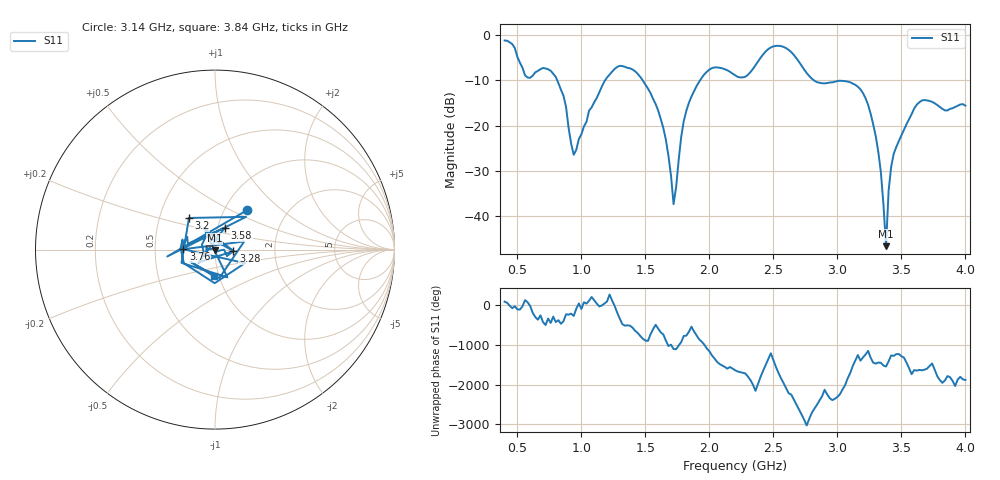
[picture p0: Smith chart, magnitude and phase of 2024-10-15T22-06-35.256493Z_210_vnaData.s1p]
! Created with skrf (http://scikit-rf.org).
# Hz S RI R 50.0
!freq ReS11 ImS11
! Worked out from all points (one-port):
!   181 points, 400 MHz to 4 GHz, reference 50 ohm
!   lowest |S11| = -46.6 dB at 3.38 GHz (marker M1), VSWR 1.01, Z = 49.9 - j0.459 ohm
!   |S11| at or under -10 dB: 811 MHz to 1.185 GHz (374.4 MHz wide, 37.5 % of centre); 1.478 GHz to 1.927 GHz (449 MHz wide, 26.4 % of centre); 2.816 GHz to end of sweep
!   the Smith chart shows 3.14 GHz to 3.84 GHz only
!   S11 on the Smith chart (normalised r, x): 3.14 GHz: 1.27, +0.60; 3.2 GHz: 0.71, +0.26; 3.28 GHz: 1.23, -0.02; 3.58 GHz: 1.08, +0.27; 3.76 GHz: 0.70, +0.00; 3.84 GHz: 0.94, -0.28
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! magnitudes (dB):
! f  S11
! 400 MHz  -1.2
! 560 MHz  -8.9
! 740 MHz  -7.6
! 860 MHz  -13.4
! 940 MHz  -26.4
! 1.3 GHz  -6.8
! 1.6 GHz  -16.7
! 1.66 GHz  -23.1
! 1.72 GHz  -37.3
! 1.76 GHz  -27.5
! 1.82 GHz  -16.7
! 1.94 GHz  -9.4
! 2.2 GHz  -8.9
! 2.5 GHz  -2.5
! 2.66 GHz  -4.4
! 2.84 GHz  -10.4
! 3.1 GHz  -10.4
! 3.14 GHz  -11.0
! 3.2 GHz  -12.8
! 3.28 GHz  -19.7
! 3.34 GHz  -30.4
! 3.38 GHz  -46.6
! 3.42 GHz  -29.1
! 3.56 GHz  -18.6
! 3.58 GHz  -17.5
! 3.76 GHz  -15.1
! 3.84 GHz  -16.6
! 4 GHz  -15.6
